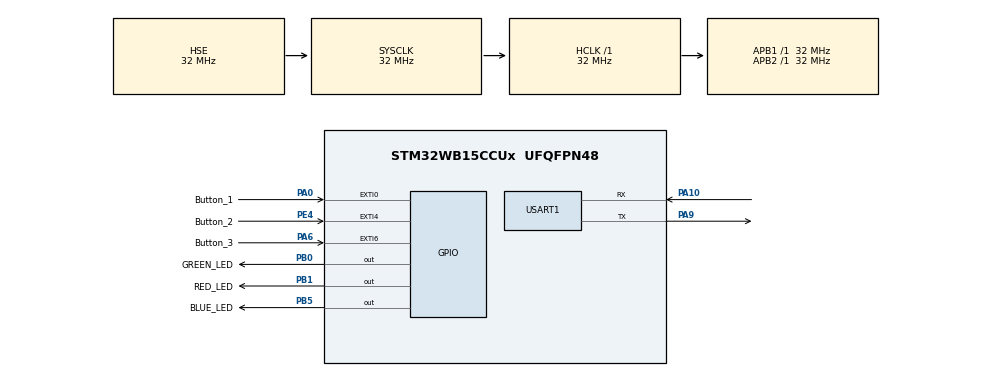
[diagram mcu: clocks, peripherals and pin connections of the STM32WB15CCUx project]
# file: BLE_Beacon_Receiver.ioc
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Mcu.Family=STM32WB
Mcu.Name=STM32WB15CCUx
Mcu.Package=UFQFPN48
NVIC.EXTI0_IRQn=true\:0\:0\:false\:false\:true\:true\:true\:true
NVIC.EXTI4_IRQn=true\:0\:0\:false\:false\:true\:true\:true\:true
NVIC.EXTI9_5_IRQn=true\:0\:0\:false\:false\:true\:true\:true\:true
NVIC.HSEM_IRQn=true\:0\:0\:false\:false\:true\:false\:true\:true
NVIC.IPCC_C1_RX_IRQn=true\:0\:0\:false\:false\:true\:true\:true\:true
NVIC.IPCC_C1_TX_IRQn=true\:0\:0\:false\:false\:true\:true\:true\:true
NVIC.PriorityGroup=NVIC_PRIORITYGROUP_4
NVIC.RTC_WKUP_IRQn=true\:0\:0\:false\:false\:true\:true\:true\:true
OSC_IN.Mode=HSE-External-Oscillator
OSC_IN.Signal=RCC_OSC_IN
OSC_OUT.Mode=HSE-External-Oscillator
OSC_OUT.Signal=RCC_OSC_OUT
PA0.GPIO_Label=Button_1
PA0.Signal=GPXTI0
PA10.Mode=Asynchronous
PA10.Signal=USART1_RX
PA6.GPIO_Label=Button_3
PA6.Signal=GPXTI6
PA9.Mode=Asynchronous
PA9.Signal=USART1_TX
PB0.GPIO_Label=GREEN_LED
PB0.Signal=GPIO_Output
PB1.GPIO_Label=RED_LED
PB1.Signal=GPIO_Output
PB5.GPIO_Label=BLUE_LED
PB5.Signal=GPIO_Output
PC14-OSC32_IN.Mode=LSE-External-Oscillator
PC14-OSC32_IN.Signal=RCC_OSC32_IN
PC15-OSC32_OUT.Mode=LSE-External-Oscillator
PC15-OSC32_OUT.Signal=RCC_OSC32_OUT
PE4.GPIO_Label=Button_2
PE4.Signal=GPXTI4
ProjectManager.HeapSize=0x200
ProjectManager.StackSize=0x400
ProjectManager.TargetToolchain=STM32CubeIDE
RCC.AHBFreq_Value=32000000
RCC.APB1Freq_Value=32000000
RCC.APB1TimFreq_Value=32000000
RCC.APB2Freq_Value=32000000
RCC.APB2TimFreq_Value=32000000
RCC.APB3Freq_Value=16000000
RCC.CortexFreq_Value=32000000
RCC.HCLKFreq_Value=32000000
RCC.HSE_VALUE=32000000
RCC.HSI_VALUE=16000000
RCC.MSIClockRange=RCC_MSIRANGE_10
RCC.RFWKPClockSelection=RCC_RFWKPCLKSOURCE_LSE
RCC.RTCClockSelection=RCC_RTCCLKSOURCE_LSE
RCC.SYSCLKFreq_VALUE=32000000
RCC.SYSCLKSource=RCC_SYSCLKSOURCE_HSE
RCC.VCOOutputFreq_Value=256000000
RF1.Mode=RF1_Activate
RF1.Signal=RF_RF1
STM32_WPAN.BLE_APPLICATION_TYPE=BLE_CLIENT_PROFILE
STM32_WPAN.CFG_BLE_ATT_VALUE_ARRAY_SIZE=1290
STM32_WPAN.CFG_BLE_NUM_GATT_ATTRIBUTES=30
STM32_WPAN.CFG_BLE_NUM_GATT_SERVICES=4
STM32_WPAN.LOCAL_NAME=BClient
STM32_WPAN.LOCAL_NAME_FORMATTED=,'B','C','l','i','e','n','t'
USART1.VirtualMode-Asynchronous=VM_ASYNC
VP_HSEM_VS_HSEM.Mode=HSEM_Activate
VP_IPCC_VS_IPCC.Mode=IPCC_Activate
VP_RTC_VS_RTC_Activate.Mode=RTC_Enabled
VP_RTC_VS_RTC_WakeUp_intern.Mode=WakeUp
VP_SEQUENCER_VS_SEQUENCER.Mode=SEQUENCER_Enabled
VP_STM32_WPAN_VS_BLE_HOST.Mode=STM32_WPAN_Enabled
VP_TINY_LPM_VS_TINY_LPM.Mode=TINY_LPM_Enabled
board=custom

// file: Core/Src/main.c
/* USER CODE BEGIN Header */
/**
  ******************************************************************************
  * @file           : main.c
  * @brief          : Main program body
  ******************************************************************************
  * @attention
  *
  * Copyright (c) 2023 STMicroelectronics.
  * All rights reserved.
  *
  * This software is licensed under terms that can be found in the LICENSE file
  * in the root directory of this software component.
  * If no LICENSE file comes with this software, it is provided AS-IS.
  *
  ******************************************************************************
  */
/* USER CODE END Header */
#include "main.h"

/* USER CODE BEGIN Includes */
#include "stdio.h"
#include "app_ble.h"
/* USER CODE END Includes */

IPCC_HandleTypeDef hipcc;

RTC_HandleTypeDef hrtc;

UART_HandleTypeDef huart1;

void SystemClock_Config(void);
void PeriphCommonClock_Config(void);
static void MX_GPIO_Init(void);
static void MX_USART1_UART_Init(void);
static void MX_IPCC_Init(void);
static void MX_RF_Init(void);
static void MX_RTC_Init(void);
/* USER CODE BEGIN PFP */
#ifdef __GNUC__
#define PUTCHAR_PROTOTYPE int __io_putchar(int ch)
#else
#define PUTCHAR_PROTOTYPE int fputc(int ch, FILE *f)
#endif

PUTCHAR_PROTOTYPE
{
  HAL_UART_Transmit(&huart1, (uint8_t *)&ch, 1, HAL_MAX_DELAY);
  return ch;
}
/* USER CODE END PFP */

int main(void)
{

  /* MCU Configuration--------------------------------------------------------*/

  /* Reset of all peripherals, Initializes the Flash interface and the Systick. */
  HAL_Init();
  /* Config code for STM32_WPAN (HSE Tuning must be done before system clock configuration) */
  MX_APPE_Config();

  /* Configure the system clock */
  SystemClock_Config();

/* Configure the peripherals common clocks */
  PeriphCommonClock_Config();

  /* IPCC initialisation */
   MX_IPCC_Init();

  /* Initialize all configured peripherals */
  MX_GPIO_Init();
  MX_USART1_UART_Init();
  MX_RF_Init();
  MX_RTC_Init();

  /* Init code for STM32_WPAN */
  MX_APPE_Init();

  /* Infinite loop */
  /* USER CODE BEGIN WHILE */
  //printf("Starting while loop\n\r");
  HAL_GPIO_WritePin(GPIOB, GREEN_LED_Pin, GPIO_PIN_SET);
  while (1)
  {
    /* USER CODE END WHILE */
    MX_APPE_Process();

  }
}

void SystemClock_Config(void)
{
  RCC_OscInitTypeDef RCC_OscInitStruct = {0};
  RCC_ClkInitTypeDef RCC_ClkInitStruct = {0};

  /** Configure LSE Drive Capability
  */
  HAL_PWR_EnableBkUpAccess();
  __HAL_RCC_LSEDRIVE_CONFIG(RCC_LSEDRIVE_LOW);

  /** Initializes the RCC Oscillators according to the specified parameters
  * in the RCC_OscInitTypeDef structure.
  */
  RCC_OscInitStruct.OscillatorType = RCC_OSCILLATORTYPE_HSI|RCC_OSCILLATORTYPE_HSE
                              |RCC_OSCILLATORTYPE_LSE;
  RCC_OscInitStruct.HSEState = RCC_HSE_ON;
  RCC_OscInitStruct.LSEState = RCC_LSE_ON;
  RCC_OscInitStruct.HSIState = RCC_HSI_ON;
  RCC_OscInitStruct.HSICalibrationValue = RCC_HSICALIBRATION_DEFAULT;
  RCC_OscInitStruct.PLL.PLLState = RCC_PLL_NONE;
  if (HAL_RCC_OscConfig(&RCC_OscInitStruct) != HAL_OK)
  {
    Error_Handler();
  }

  /** Configure the SYSCLKSource, HCLK, PCLK1 and PCLK2 clocks dividers
  */
  RCC_ClkInitStruct.ClockType = RCC_CLOCKTYPE_HCLK4|RCC_CLOCKTYPE_HCLK2
                              |RCC_CLOCKTYPE_HCLK|RCC_CLOCKTYPE_SYSCLK
                              |RCC_CLOCKTYPE_PCLK1|RCC_CLOCKTYPE_PCLK2;
  RCC_ClkInitStruct.SYSCLKSource = RCC_SYSCLKSOURCE_HSE;
  RCC_ClkInitStruct.AHBCLKDivider = RCC_SYSCLK_DIV1;
  RCC_ClkInitStruct.APB1CLKDivider = RCC_HCLK_DIV1;
  RCC_ClkInitStruct.APB2CLKDivider = RCC_HCLK_DIV1;
  RCC_ClkInitStruct.AHBCLK2Divider = RCC_SYSCLK_DIV1;
  RCC_ClkInitStruct.AHBCLK4Divider = RCC_SYSCLK_DIV1;

  if (HAL_RCC_ClockConfig(&RCC_ClkInitStruct, FLASH_LATENCY_1) != HAL_OK)
  {
    Error_Handler();
  }
}

void PeriphCommonClock_Config(void)
{
  RCC_PeriphCLKInitTypeDef PeriphClkInitStruct = {0};

  /** Initializes the peripherals clock
  */
  PeriphClkInitStruct.PeriphClockSelection = RCC_PERIPHCLK_SMPS|RCC_PERIPHCLK_RFWAKEUP;
  PeriphClkInitStruct.RFWakeUpClockSelection = RCC_RFWKPCLKSOURCE_LSE;
  PeriphClkInitStruct.SmpsClockSelection = RCC_SMPSCLKSOURCE_HSI;
  PeriphClkInitStruct.SmpsDivSelection = RCC_SMPSCLKDIV_RANGE1;

  if (HAL_RCCEx_PeriphCLKConfig(&PeriphClkInitStruct) != HAL_OK)
  {
    Error_Handler();
  }
}

static void MX_IPCC_Init(void)
{

  hipcc.Instance = IPCC;
  if (HAL_IPCC_Init(&hipcc) != HAL_OK)
  {
    Error_Handler();
  }

}

static void MX_RF_Init(void)
{

}

static void MX_RTC_Init(void)
{

  /** Initialize RTC Only
  */
  hrtc.Instance = RTC;
  hrtc.Init.HourFormat = RTC_HOURFORMAT_24;
  hrtc.Init.AsynchPrediv = CFG_RTC_ASYNCH_PRESCALER;
  hrtc.Init.SynchPrediv = CFG_RTC_SYNCH_PRESCALER;
  hrtc.Init.OutPut = RTC_OUTPUT_DISABLE;
  hrtc.Init.OutPutPolarity = RTC_OUTPUT_POLARITY_HIGH;
  hrtc.Init.OutPutRemap = RTC_OUTPUT_REMAP_NONE;
  if (HAL_RTC_Init(&hrtc) != HAL_OK)
  {
    Error_Handler();
  }

  /** Enable the WakeUp
  */
  if (HAL_RTCEx_SetWakeUpTimer_IT(&hrtc, 0, RTC_WAKEUPCLOCK_RTCCLK_DIV16) != HAL_OK)
  {
    Error_Handler();
  }

}

static void MX_USART1_UART_Init(void)
{

  huart1.Instance = USART1;
  huart1.Init.BaudRate = 115200;
  huart1.Init.WordLength = UART_WORDLENGTH_8B;
  huart1.Init.StopBits = UART_STOPBITS_1;
  huart1.Init.Parity = UART_PARITY_NONE;
  huart1.Init.Mode = UART_MODE_TX_RX;
  huart1.Init.HwFlowCtl = UART_HWCONTROL_NONE;
  huart1.Init.OverSampling = UART_OVERSAMPLING_16;
  huart1.Init.OneBitSampling = UART_ONE_BIT_SAMPLE_DISABLE;
  huart1.Init.ClockPrescaler = UART_PRESCALER_DIV1;
  huart1.AdvancedInit.AdvFeatureInit = UART_ADVFEATURE_NO_INIT;
  if (HAL_UART_Init(&huart1) != HAL_OK)
  {
    Error_Handler();
  }
  if (HAL_UARTEx_SetTxFifoThreshold(&huart1, UART_TXFIFO_THRESHOLD_1_8) != HAL_OK)
  {
    Error_Handler();
  }
  if (HAL_UARTEx_SetRxFifoThreshold(&huart1, UART_RXFIFO_THRESHOLD_1_8) != HAL_OK)
  {
    Error_Handler();
  }
  if (HAL_UARTEx_DisableFifoMode(&huart1) != HAL_OK)
  {
    Error_Handler();
  }

}

static void MX_GPIO_Init(void)
{
  GPIO_InitTypeDef GPIO_InitStruct = {0};

  /* GPIO Ports Clock Enable */
  __HAL_RCC_GPIOC_CLK_ENABLE();
  __HAL_RCC_GPIOA_CLK_ENABLE();
  __HAL_RCC_GPIOB_CLK_ENABLE();
  __HAL_RCC_GPIOE_CLK_ENABLE();

  /*Configure GPIO pin Output Level */
  HAL_GPIO_WritePin(GPIOB, GREEN_LED_Pin|RED_LED_Pin|BLUE_LED_Pin, GPIO_PIN_RESET);

  /*Configure GPIO pins : Button_1_Pin Button_3_Pin */
  GPIO_InitStruct.Pin = Button_1_Pin|Button_3_Pin;
  GPIO_InitStruct.Mode = GPIO_MODE_IT_RISING;
  GPIO_InitStruct.Pull = GPIO_NOPULL;
  HAL_GPIO_Init(GPIOA, &GPIO_InitStruct);

  /*Configure GPIO pins : GREEN_LED_Pin RED_LED_Pin BLUE_LED_Pin */
  GPIO_InitStruct.Pin = GREEN_LED_Pin|RED_LED_Pin|BLUE_LED_Pin;
  GPIO_InitStruct.Mode = GPIO_MODE_OUTPUT_PP;
  GPIO_InitStruct.Pull = GPIO_NOPULL;
  GPIO_InitStruct.Speed = GPIO_SPEED_FREQ_LOW;
  HAL_GPIO_Init(GPIOB, &GPIO_InitStruct);

  /*Configure GPIO pin : Button_2_Pin */
  GPIO_InitStruct.Pin = Button_2_Pin;
  GPIO_InitStruct.Mode = GPIO_MODE_IT_RISING;
  GPIO_InitStruct.Pull = GPIO_NOPULL;
  HAL_GPIO_Init(Button_2_GPIO_Port, &GPIO_InitStruct);

  /* EXTI interrupt init*/
  HAL_NVIC_SetPriority(EXTI0_IRQn, 0, 0);
  HAL_NVIC_EnableIRQ(EXTI0_IRQn);

  HAL_NVIC_SetPriority(EXTI4_IRQn, 0, 0);
  HAL_NVIC_EnableIRQ(EXTI4_IRQn);

  HAL_NVIC_SetPriority(EXTI9_5_IRQn, 0, 0);
  HAL_NVIC_EnableIRQ(EXTI9_5_IRQn);

}

/* USER CODE BEGIN 4 */
void HAL_GPIO_EXTI_Callback( uint16_t GPIO_Pin )
{
  switch (GPIO_Pin)
  {
    case Button_1_Pin:
      APP_BLE_Key_Button1_Action();
      break;

    case Button_2_Pin:
      APP_BLE_Key_Button2_Action();
      break;

    case Button_3_Pin:
      APP_BLE_Key_Button3_Action();
      break;

    default:
      break;

  }
}
/* USER CODE END 4 */

void Error_Handler(void)
{
  __disable_irq();
  while (1)
  {
  }
}
